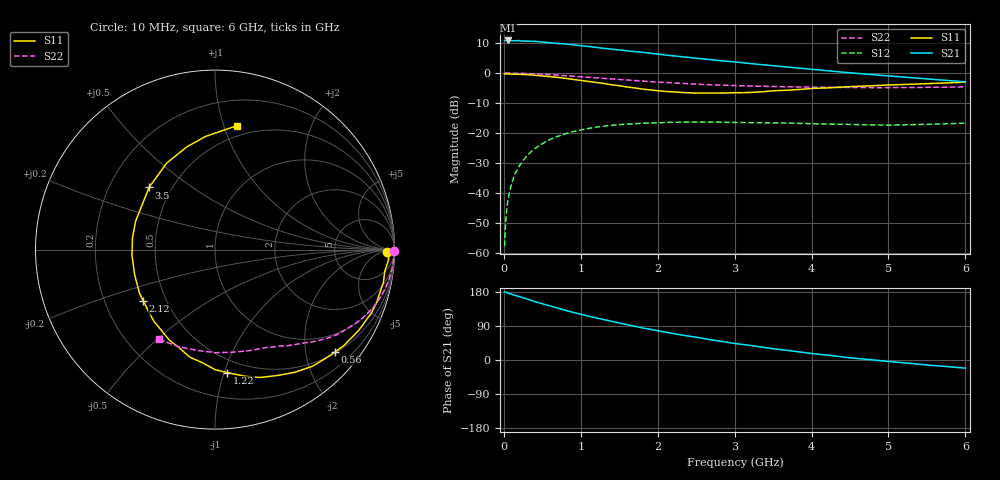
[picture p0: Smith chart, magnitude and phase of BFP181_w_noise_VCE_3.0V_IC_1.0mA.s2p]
! Infineon Technologies  Discrete & RF Semiconductors
! BFP181
! VCE = 3.0 V,  IC =  1.0 mA
! Common Emitter S-Parameters:  Jan 2016
# GHz  S  MA  R  50
!  f  S11  S21  S12  S22
! GHz  MAG  ANG  MAG  ANG  MAG  ANG  MAG  ANG
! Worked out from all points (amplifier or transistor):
!   210 points, 10 MHz to 6 GHz, reference 50 ohm
!   highest |S21| = 10.8 dB at 50 MHz (marker M1)
!   |S21| within 3 dB of that: start of sweep to 1.435 GHz
!   unconditionally stable (mu >= 1): 3.064 GHz to end of sweep
!   at 185 MHz: K = 0.07, MSG = 21.2 dB, |S12| = -31.7 dB
!   at 1.52 GHz: K = 0.53, MSG = 12.4 dB, |S12| = -17.2 dB
!   at 6 GHz: K = 1.26, MAG = 3.8 dB, |S12| = -16.7 dB
!   lowest NFmin = 1.30 dB at 450 MHz
!   S11 on the Smith chart (normalised r, x): 10 MHz: 46, -14; 560 MHz: 0.52, -2.61; 1.22 GHz: 0.39, -1.03; 2.12 GHz: 0.37, -0.28; 3.5 GHz: 0.37, +0.35; 6 GHz: 0.41, +1.11
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0.01  0.9608 -0.7  3.449 179.7  0.0013 91.7  0.9986 -0.3
0.015  0.9642 -1.1  3.452 179.5  0.002 89.0  0.9985 -0.5
0.025  0.9677 -1.8  3.461 178.9  0.0034 87.9  0.9982 -0.9
0.05  0.9683 -3.5  3.486 176.7  0.0072 88.2  0.9975 -1.7
0.115  0.9537 -8.5  3.439 172.7  0.0162 84.4  0.9957 -3.9
0.2  0.9498 -14.6  3.469 167.1  0.028 80.4  0.9908 -6.8
0.4  0.9187 -29.3  3.373 154.3  0.0546 70.9  0.9704 -13.5
0.56  0.8782 -40.6  3.23 144.7  0.0733 63.0  0.9471 -18.4
0.8  0.8153 -57.0  3.05 131.0  0.0971 53.6  0.9046 -25.1
1.02  0.7486 -71.8  2.832 119.6  0.1136 45.2  0.861 -30.5
1.22  0.6884 -84.2  2.644 110.1  0.1261 38.6  0.8264 -35.1
1.64  0.5757 -112.2  2.315 91.5  0.1418 27.5  0.7561 -42.5
1.8  0.5398 -123.5  2.216 84.6  0.1454 24.2  0.7312 -45.0
2.02  0.5041 -137.7  2.045 76.6  0.1492 19.9  0.7034 -48.3
2.12  0.491 -144.5  1.979 72.9  0.1501 18.0  0.6918 -49.8
2.6  0.4637 -176.4  1.712 56.6  0.1515 10.6  0.6421 -56.8
3.1  0.4701 155.4  1.483 41.2  0.1495 4.8  0.61 -64.2
3.5  0.5049 136.7  1.325 29.6  0.1482 1.8  0.5964 -70.3
4.1  0.5575 116.3  1.123 15.1  0.142 -1.3  0.5783 -81.4
4.5  0.5929 105.5  1.009 5.7  0.1385 -2.4  0.5747 -89.6
5.1  0.6374 93.2  0.874 -5.6  0.1361 -0.9  0.5702 -102.2
6  0.7019 79.8  0.712 -21.5  0.1458 1.5  0.5893 -121.8
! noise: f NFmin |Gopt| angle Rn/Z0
0.45  1.3  0.7  18  0.5
0.9  1.4  0.6  39  0.52
1.8  1.85  0.4  81  0.47
